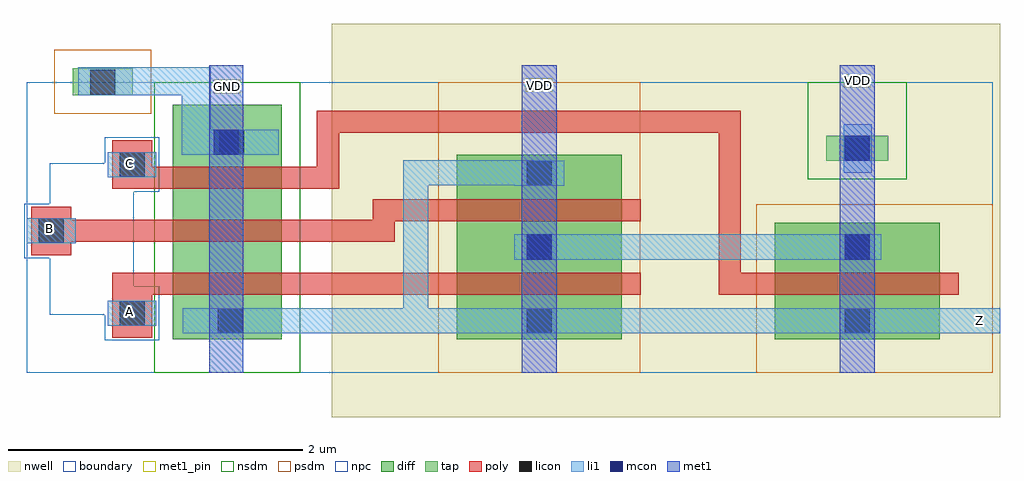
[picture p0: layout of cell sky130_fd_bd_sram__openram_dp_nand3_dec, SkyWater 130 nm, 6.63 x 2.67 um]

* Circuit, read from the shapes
.subckt sky130_fd_bd_sram__openram_dp_nand3_dec A B C GND VDD Z
XM1 n1 A Z GND sky130_fd_pr__nfet_01v8 w=0.74 l=0.15
XM2 n2 B n1 GND sky130_fd_pr__nfet_01v8 w=0.74 l=0.15
XM3 GND C n2 GND sky130_fd_pr__nfet_01v8 w=0.74 l=0.15
XM4 VDD A Z VDD sky130_fd_pr__pfet_01v8 w=1.12 l=0.15
XM5 Z B VDD VDD sky130_fd_pr__pfet_01v8 w=1.12 l=0.15
XM6 VDD C Z VDD sky130_fd_pr__pfet_01v8 w=1.12 l=0.15
.ends

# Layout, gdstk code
import gdstk
lib = gdstk.Library(unit=1e-6, precision=1e-09)
def R(c, l, rs):  # rectangles x0, y0, x1, y1
    for r in rs: c.add(gdstk.rectangle(r[:2], r[2:], *l))
def A(c, l, x, y, w, h, nx, ny, dx, dy):  # array of equal rectangles
    R(c, l, [(x+i*dx, y+j*dy, x+i*dx+w, y+j*dy+h) for i in range(nx) for j in range(ny)])
nwell = (64, 20)
diff = (65, 20)
tap = (65, 44)
poly = (66, 20)
licon = (66, 44)
li1 = (67, 20)
mcon = (67, 44)
met1_pin = (68, 16)
met1 = (68, 20)
nsdm = (93, 44)
psdm = (94, 20)
npc = (95, 20)
boundary = (235, 4)

sky130_fd_bd_sram__openr = lib.new_cell('sky130_fd_bd_sram__openram_dp_nand3_dec')
R(sky130_fd_bd_sram__openr, nwell, [(2.07,-0.3,6.61,2.37)])
R(sky130_fd_bd_sram__openr, diff, [(0.99,0.23,1.73,1.82), (2.92,0.23,4.04,1.48), (5.08,0.23,6.2,1.02)])
R(sky130_fd_bd_sram__openr, tap, [(5.43,1.44,5.85,1.61), (0.31,1.885,0.72,2.07)])
R(sky130_fd_bd_sram__openr, poly, [(0.58,0.24,0.85,0.53), (0.58,0.53,4.17,0.68), (4.7,0.53,6.33,0.68), (4.7,0.68,4.85,1.63), (0.03,0.8,0.3,0.89), (0.03,0.89,2.5,1.03), (0.03,1.03,4.17,1.04), (0.03,1.04,0.3,1.13), (2.35,1.04,4.17,1.18), (0.58,1.25,2.12,1.4), (0.58,1.4,0.85,1.58), (1.97,1.4,2.12,1.63), (1.97,1.63,4.85,1.78)])
A(sky130_fd_bd_sram__openr, licon, 3.395, 0.27, 0.17, 0.17, 1, 3, 0, 0.5)
R(sky130_fd_bd_sram__openr, licon, [(1.295,0.27,1.465,0.44), (5.555,0.27,5.725,0.44), (0.63,0.32,0.8,0.49), (5.555,0.77,5.725,0.94), (0.08,0.88,0.25,1.05), (0.63,1.33,0.8,1.5), (5.55,1.44,5.72,1.61), (1.305,1.48,1.475,1.65), (0.43,1.89,0.6,2.06)])
R(sky130_fd_bd_sram__openr, li1, [(1.06,0.27,6.61,0.44), (0.55,0.32,0.88,0.49), (2.555,0.44,2.725,1.275), (3.31,0.77,5.805,0.94), (0,0.88,0.33,1.05), (3.31,1.27,3.65,1.275), (2.555,1.275,3.65,1.44), (0.55,1.33,0.88,1.5), (5.55,1.36,5.74,1.69), (2.555,1.44,3.435,1.445), (1.05,1.48,1.71,1.65), (1.05,1.65,1.25,1.885), (0.35,1.885,1.25,2.075)])
R(sky130_fd_bd_sram__openr, mcon, [(3.395,0.77,3.565,0.94), (5.555,0.77,5.725,0.94), (5.555,1.44,5.725,1.61), (1.27,1.48,1.44,1.65)])
R(sky130_fd_bd_sram__openr, met1_pin, [(1.27,1.9,1.45,1.99), (3.39,1.91,3.57,2), (5.55,1.94,5.73,2.03)])
R(sky130_fd_bd_sram__openr, met1, [(1.24,0,1.47,2.09), (3.36,0,3.6,2.09), (5.52,0,5.76,2.09)])
R(sky130_fd_bd_sram__openr, nsdm, [(0.865,0,1.855,1.975), (5.305,1.315,5.975,1.975)])
R(sky130_fd_bd_sram__openr, psdm, [(2.795,0,4.165,1.975), (4.955,0,6.56,1.145), (0.185,1.76,0.845,2.195)])
R(sky130_fd_bd_sram__openr, npc, [(0.53,0.22,0.9,0.395), (0.155,0.395,0.9,0.59), (0.155,0.59,0.725,0.78), (-0.02,0.78,0.725,1.15), (0.155,1.15,0.725,1.23), (0.155,1.23,0.9,1.425), (0.53,1.425,0.9,1.6)])
R(sky130_fd_bd_sram__openr, boundary, [(0,0,6.56,1.975)])
sky130_fd_bd_sram__openr.add(gdstk.Label('VDD', (3.48,1.955), layer=68, texttype=16))
sky130_fd_bd_sram__openr.add(gdstk.Label('VDD', (5.64,1.985), layer=68, texttype=16))
sky130_fd_bd_sram__openr.add(gdstk.Label('GND', (1.36,1.945), layer=68, texttype=16))
sky130_fd_bd_sram__openr.add(gdstk.Label('C', (0.7,1.42), layer=67, texttype=16))
sky130_fd_bd_sram__openr.add(gdstk.Label('Z', (6.47,0.355), layer=67, texttype=16))
sky130_fd_bd_sram__openr.add(gdstk.Label('B', (0.15,0.98), layer=67, texttype=16))
sky130_fd_bd_sram__openr.add(gdstk.Label('A', (0.7,0.42), layer=67, texttype=16))

lib.write_gds('sky130_fd_bd_sram__openram_dp_nand3_dec.gds')
